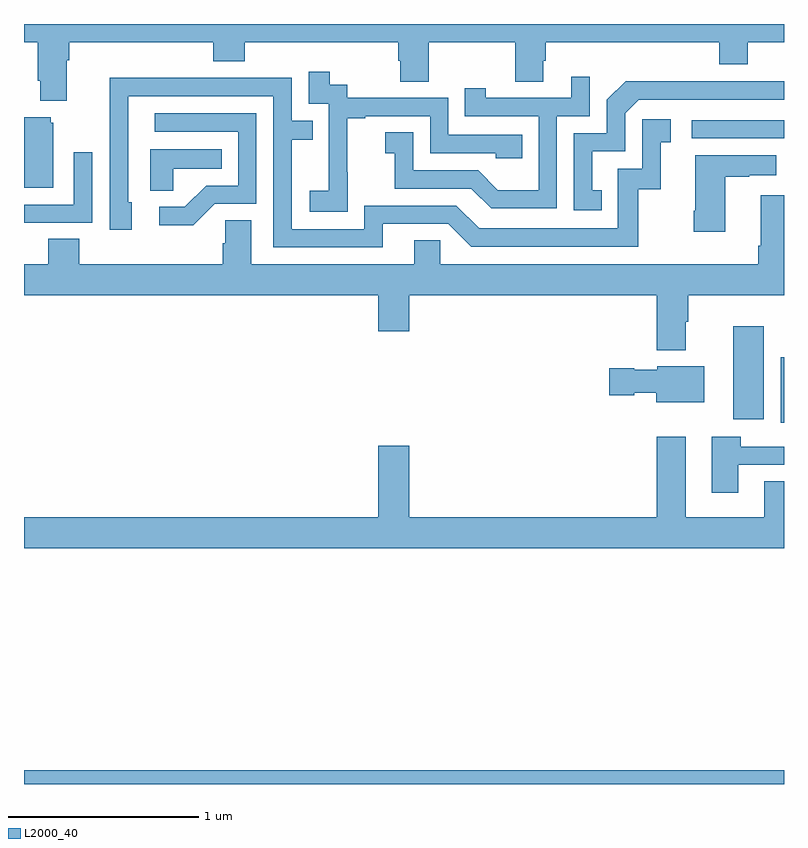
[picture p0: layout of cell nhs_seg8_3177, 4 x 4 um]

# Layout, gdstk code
import gdstk
lib = gdstk.Library(unit=1e-6, precision=1e-09)
def R(c, l, rs):  # rectangles x0, y0, x1, y1
    for r in rs: c.add(gdstk.rectangle(r[:2], r[2:], *l))
def P(c, l, *ps):  # polygons
    for p in ps: c.add(gdstk.Polygon(p, *l))
L2000_40 = (2000, 40)

nhs_seg8_3177 = lib.new_cell('nhs_seg8_3177')
R(nhs_seg8_3177, L2000_40, [(307,1141.9,311,1141.972), (310.982,1143.801,311,1144.147), (310.733,1143.819,310.894,1144.309), (310.515,1145.298,311,1145.394)])
P(nhs_seg8_3177, L2000_40, [(307.225,1145.708),(307.238,1145.708),(307.238,1145.804),(307.997,1145.804),(307.997,1145.705),(308.162,1145.705),(308.162,1145.804),(308.969,1145.804),(308.969,1145.706),(308.981,1145.706),(308.981,1145.596),(309.129,1145.596),(309.129,1145.804),(309.586,1145.804),(309.586,1145.596),(309.733,1145.596),(309.733,1145.706),(309.746,1145.706),(309.746,1145.804),(310.658,1145.804),(310.658,1145.687),(310.81,1145.687),(310.81,1145.804),(311,1145.804),(311,1145.9),(307,1145.9),(307,1145.804),(307.073,1145.804),(307.073,1145.602),(307.085,1145.602),(307.085,1145.495),(307.225,1145.495)],
  [(308.703,1145.119),(308.702,1145.119),(308.702,1145.403),(308.797,1145.403),(308.797,1145.415),(309.138,1145.415),(309.138,1145.22),(309.483,1145.22),(309.483,1145.193),(309.623,1145.193),(309.623,1145.316),(309.234,1145.316),(309.234,1145.511),(308.7,1145.511),(308.7,1145.58),(308.608,1145.58),(308.608,1145.65),(308.499,1145.65),(308.499,1145.481),(308.604,1145.481),(308.604,1145.252),(308.603,1145.252),(308.603,1145.023),(308.505,1145.023),(308.505,1144.913),(308.703,1144.913)],
  [(309.804,1145.415),(309.978,1145.415),(309.978,1145.623),(309.881,1145.623),(309.881,1145.511),(309.43,1145.511),(309.43,1145.563),(309.319,1145.563),(309.319,1145.415),(309.708,1145.415),(309.708,1145.026),(309.494,1145.026),(309.39,1145.13),(309.048,1145.13),(309.048,1145.329),(308.901,1145.329),(308.901,1145.219),(308.95,1145.219),(308.95,1145.034),(309.353,1145.034),(309.458,1144.929),(309.804,1144.929)],
  [(308.887,1144.848),(309.234,1144.848),(309.354,1144.728),(310.234,1144.728),(310.234,1145.031),(310.352,1145.031),(310.352,1145.277),(310.405,1145.277),(310.405,1145.398),(310.254,1145.398),(310.254,1145.139),(310.125,1145.139),(310.125,1144.824),(309.396,1144.824),(309.276,1144.944),(308.79,1144.944),(308.79,1144.821),(308.409,1144.821),(308.409,1145.29),(308.519,1145.29),(308.519,1145.391),(308.409,1145.391),(308.409,1145.616),(307.913,1145.616),(307.913,1145.618),(307.45,1145.618),(307.45,1145.311),(307.452,1145.311),(307.452,1144.818),(307.567,1144.818),(307.567,1144.962),(307.548,1144.962),(307.548,1145.52),(308.313,1145.52),(308.313,1144.725),(308.887,1144.725)],
  [(310.04,1145.025),(309.991,1145.025),(309.991,1145.229),(310.164,1145.229),(310.164,1145.43),(310.236,1145.502),(311,1145.502),(311,1145.598),(310.574,1145.598),(310.574,1145.6),(310.166,1145.6),(310.068,1145.502),(310.068,1145.325),(309.894,1145.325),(309.894,1144.92),(310.04,1144.92)],
  [(308.004,1144.953),(308.223,1144.953),(308.223,1145.43),(307.689,1145.43),(307.689,1145.334),(308.127,1145.334),(308.127,1145.049),(307.958,1145.049),(307.847,1144.938),(307.713,1144.938),(307.713,1144.841),(307.891,1144.841)],
  [(307.153,1145.379),(307.142,1145.379),(307.142,1145.41),(307,1145.41),(307,1145.039),(307.153,1145.039)],
  [(307.785,1145.138),(308.042,1145.138),(308.042,1145.242),(307.664,1145.242),(307.664,1145.023),(307.785,1145.023)],
  [(307.043,1144.854),(307.359,1144.854),(307.359,1145.224),(307.263,1145.224),(307.263,1144.95),(307,1144.95),(307,1144.853),(307.043,1144.853)],
  [(310.69,1145.095),(310.817,1145.095),(310.817,1145.105),(310.96,1145.105),(310.96,1145.209),(310.532,1145.209),(310.532,1144.918),(310.525,1144.918),(310.525,1144.806),(310.69,1144.806)],
  [(310.483,1144.334),(310.496,1144.334),(310.496,1144.472),(311,1144.472),(311,1144.999),(310.877,1144.999),(310.877,1144.732),(310.865,1144.732),(310.865,1144.636),(309.192,1144.636),(309.192,1144.763),(309.053,1144.763),(309.053,1144.636),(308.197,1144.636),(308.197,1144.868),(308.058,1144.868),(308.058,1144.745),(308.045,1144.745),(308.045,1144.636),(307.292,1144.636),(307.292,1144.769),(307.127,1144.769),(307.127,1144.636),(307,1144.636),(307,1144.472),(308.864,1144.472),(308.864,1144.284),(309.028,1144.284),(309.028,1144.472),(310.331,1144.472),(310.331,1144.184),(310.483,1144.184)],
  [(310.579,1144.099),(310.332,1144.099),(310.332,1144.081),(310.212,1144.081),(310.212,1144.089),(310.08,1144.089),(310.08,1143.947),(310.212,1143.947),(310.212,1143.959),(310.328,1143.959),(310.328,1143.908),(310.579,1143.908)],
  [(311,1143.494),(310.895,1143.494),(310.895,1143.304),(310.483,1143.304),(310.483,1143.727),(310.331,1143.727),(310.331,1143.304),(309.028,1143.304),(309.028,1143.679),(308.864,1143.679),(308.864,1143.304),(307,1143.304),(307,1143.14),(311,1143.14)],
  [(310.759,1143.579),(311,1143.579),(311,1143.675),(310.772,1143.675),(310.772,1143.727),(310.619,1143.727),(310.619,1143.432),(310.759,1143.432)])

lib.write_gds('nhs_seg8_3177.gds')
